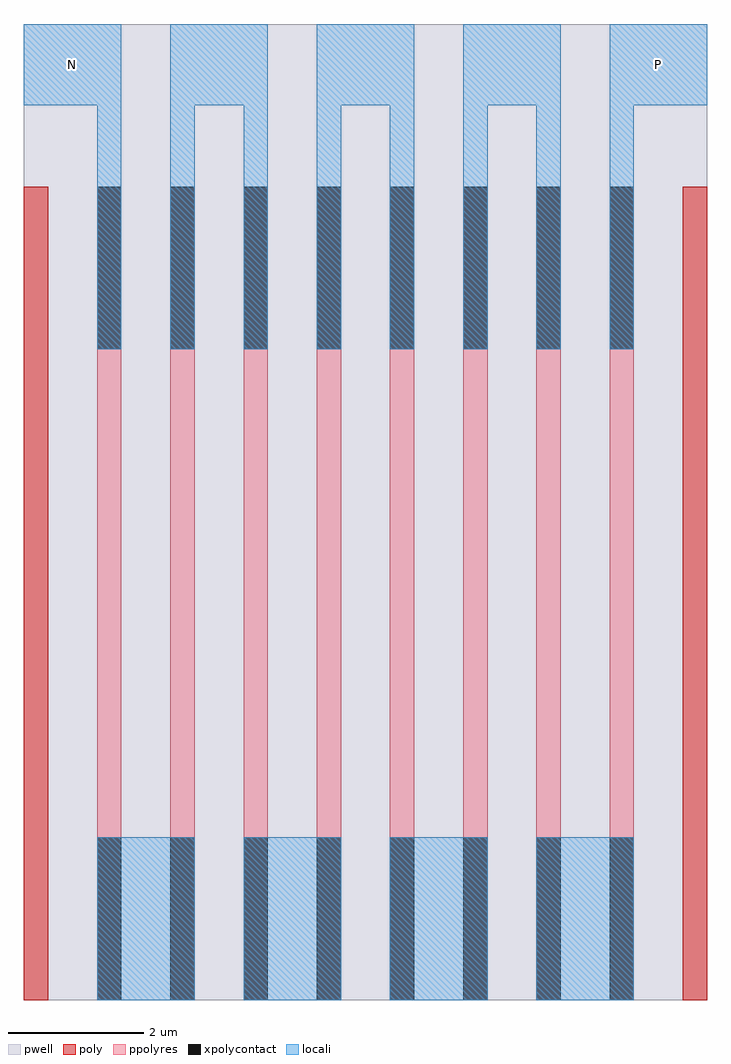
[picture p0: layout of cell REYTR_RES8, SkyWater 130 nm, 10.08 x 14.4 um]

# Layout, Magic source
magic
tech sky130A
magscale 1 2
<< ppolyres >>
rect 180 -120 252 120
rect 396 -120 468 120
rect 612 -120 684 120
rect 828 -120 900 120
rect 1044 -120 1116 120
rect 1260 -120 1332 120
rect 1476 -120 1548 120
rect 1692 -120 1764 120
rect 180 120 252 360
rect 396 120 468 360
rect 612 120 684 360
rect 828 120 900 360
rect 1044 120 1116 360
rect 1260 120 1332 360
rect 1476 120 1548 360
rect 1692 120 1764 360
rect 180 360 252 600
rect 396 360 468 600
rect 612 360 684 600
rect 828 360 900 600
rect 1044 360 1116 600
rect 1260 360 1332 600
rect 1476 360 1548 600
rect 1692 360 1764 600
rect 180 600 252 840
rect 396 600 468 840
rect 612 600 684 840
rect 828 600 900 840
rect 1044 600 1116 840
rect 1260 600 1332 840
rect 1476 600 1548 840
rect 1692 600 1764 840
rect 180 840 252 1080
rect 396 840 468 1080
rect 612 840 684 1080
rect 828 840 900 1080
rect 1044 840 1116 1080
rect 1260 840 1332 1080
rect 1476 840 1548 1080
rect 1692 840 1764 1080
rect 180 1080 252 1320
rect 396 1080 468 1320
rect 612 1080 684 1320
rect 828 1080 900 1320
rect 1044 1080 1116 1320
rect 1260 1080 1332 1320
rect 1476 1080 1548 1320
rect 1692 1080 1764 1320
rect 180 1320 252 1560
rect 396 1320 468 1560
rect 612 1320 684 1560
rect 828 1320 900 1560
rect 1044 1320 1116 1560
rect 1260 1320 1332 1560
rect 1476 1320 1548 1560
rect 1692 1320 1764 1560
rect 180 1560 252 1800
rect 396 1560 468 1800
rect 612 1560 684 1800
rect 828 1560 900 1800
rect 1044 1560 1116 1800
rect 1260 1560 1332 1800
rect 1476 1560 1548 1800
rect 1692 1560 1764 1800
rect 180 1800 252 2040
rect 396 1800 468 2040
rect 612 1800 684 2040
rect 828 1800 900 2040
rect 1044 1800 1116 2040
rect 1260 1800 1332 2040
rect 1476 1800 1548 2040
rect 1692 1800 1764 2040
rect 180 2040 252 2280
rect 396 2040 468 2280
rect 612 2040 684 2280
rect 828 2040 900 2280
rect 1044 2040 1116 2280
rect 1260 2040 1332 2280
rect 1476 2040 1548 2280
rect 1692 2040 1764 2280
<< poly >>
rect -36 -120 36 120
rect 1908 -120 1980 120
rect -36 120 36 360
rect 1908 120 1980 360
rect -36 360 36 600
rect 1908 360 1980 600
rect -36 600 36 840
rect 1908 600 1980 840
rect -36 840 36 1080
rect 1908 840 1980 1080
rect -36 1080 36 1320
rect 1908 1080 1980 1320
rect -36 1320 36 1560
rect 1908 1320 1980 1560
rect -36 1560 36 1800
rect 1908 1560 1980 1800
rect -36 1800 36 2040
rect 1908 1800 1980 2040
rect -36 2040 36 2280
rect 1908 2040 1980 2280
<< xpolycontact >>
rect 180 -120 252 120
rect 396 -120 468 120
rect 612 -120 684 120
rect 828 -120 900 120
rect 1044 -120 1116 120
rect 1260 -120 1332 120
rect 1476 -120 1548 120
rect 1692 -120 1764 120
rect 180 120 252 360
rect 396 120 468 360
rect 612 120 684 360
rect 828 120 900 360
rect 1044 120 1116 360
rect 1260 120 1332 360
rect 1476 120 1548 360
rect 1692 120 1764 360
rect 180 1800 252 2040
rect 396 1800 468 2040
rect 612 1800 684 2040
rect 828 1800 900 2040
rect 1044 1800 1116 2040
rect 1260 1800 1332 2040
rect 1476 1800 1548 2040
rect 1692 1800 1764 2040
rect 180 2040 252 2280
rect 396 2040 468 2280
rect 612 2040 684 2280
rect 828 2040 900 2280
rect 1044 2040 1116 2280
rect 1260 2040 1332 2280
rect 1476 2040 1548 2280
rect 1692 2040 1764 2280
<< locali >>
rect 180 -120 468 120
rect 612 -120 900 120
rect 1044 -120 1332 120
rect 1476 -120 1764 120
rect 180 120 468 360
rect 612 120 900 360
rect 1044 120 1332 360
rect 1476 120 1764 360
rect 180 1800 252 2040
rect 396 1800 468 2040
rect 612 1800 684 2040
rect 828 1800 900 2040
rect 1044 1800 1116 2040
rect 1260 1800 1332 2040
rect 1476 1800 1548 2040
rect 1692 1800 1764 2040
rect 180 2040 252 2280
rect 396 2040 468 2280
rect 612 2040 684 2280
rect 828 2040 900 2280
rect 1044 2040 1116 2280
rect 1260 2040 1332 2280
rect 1476 2040 1548 2280
rect 1692 2040 1764 2280
rect 180 2280 252 2520
rect 396 2280 468 2520
rect 612 2280 684 2520
rect 828 2280 900 2520
rect 1044 2280 1116 2520
rect 1260 2280 1332 2520
rect 1476 2280 1548 2520
rect 1692 2280 1764 2520
rect -36 2520 252 2760
rect -36 2520 252 2760
rect 396 2520 684 2760
rect 828 2520 1116 2760
rect 1260 2520 1548 2760
rect 1692 2520 1980 2760
rect 1692 2520 1980 2760
<< pwell >>
rect -36 -120 1980 2760
<< labels >>
flabel locali s -36 2520 252 2760 0 FreeSans 400 0 0 0 N
port 1 nsew signal bidirectional
flabel locali s 1692 2520 1980 2760 0 FreeSans 400 0 0 0 P
port 2 nsew signal bidirectional
<< properties >>
string FIXED_BBOX 0 0 1944 2640
<< end >>
